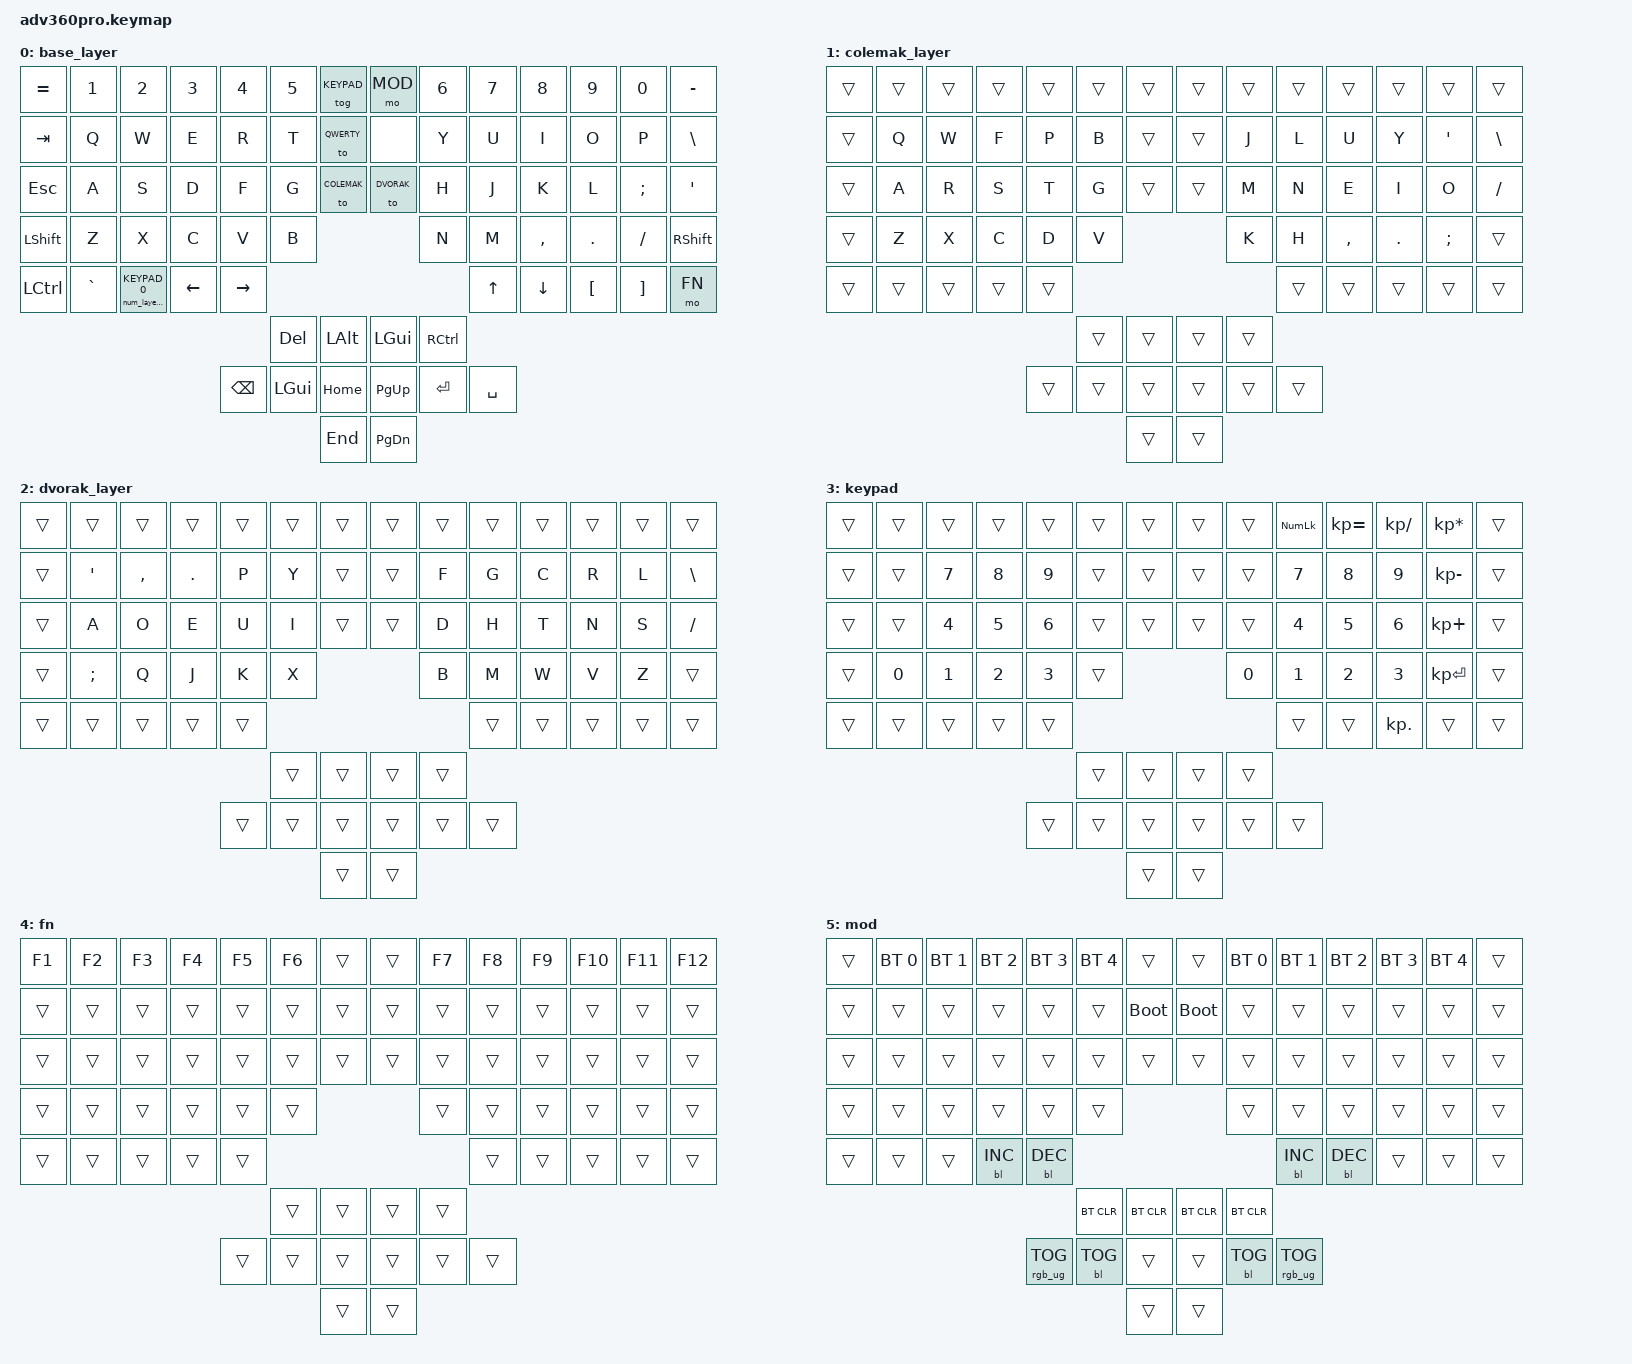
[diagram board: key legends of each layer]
#include <behaviors.dtsi>
#include <dt-bindings/zmk/keys.h>
#include <dt-bindings/zmk/bt.h>
#include <dt-bindings/zmk/outputs.h>
#include <dt-bindings/zmk/rgb.h>
#include <dt-bindings/zmk/backlight.h>
#include "../zmk-nodefree-config/helper.h"
#include "../zmk-nodefree-config/keypos_def/keypos_adv360.h"


#define ___ &trans

#define QWERTY 0
#define COLEMAK 1
#define DVORAK 2
#define KEYPAD 3
#define FN 4
#define MOD 5
#define NAV 6

#include "combos.dtsi"
/* definitions for mouse layer */
#include "mouse.dtsi"

#define KEYS_L LT0 LT1 LT2 LT3 LT4 LM0 LM1 LM2 LM3 LM4 LB0 LB1 LB2 LB3 LB4  // left-hand keys
#define KEYS_R RT0 RT1 RT2 RT3 RT4 RM0 RM1 RM2 RM3 RM4 RB0 RB1 RB2 RB3 RB4  // right-hand keys
#define THUMBS LH2 LH1 LH0 RH0 RH1 RH2                                      // thumb keys

/* left-hand HRMs */
ZMK_BEHAVIOR(hml, hold_tap,
    flavor = "balanced";
    tapping-term-ms = <280>;
    quick-tap-ms = <175>;                // repeat on tap-into-hold
    global-quick-tap-ms = <150>;         // requires PR #1387
    bindings = <&kp>, <&kp>;
    hold-trigger-key-positions = <KEYS_R THUMBS>;
    hold-trigger-on-release;             // requires PR #1423
)

/* right-hand HRMs */
ZMK_BEHAVIOR(hmr, hold_tap,
    flavor = "balanced";
    tapping-term-ms = <280>;
    quick-tap-ms = <175>;                // repeat on tap-into-hold
    global-quick-tap-ms = <150>;         // requires PR #1387
    bindings = <&kp>, <&kp>;
    hold-trigger-key-positions = <KEYS_L THUMBS>;
    hold-trigger-on-release;             // requires PR #1423
)

#define QUICK_TAP_MS 175

ZMK_BEHAVIOR(num_dance, tap_dance,
    tapping-term-ms = <200>;
    bindings = <&num_word>, <&sl KEYPAD>;  // might want to reverse if rarely using more than 1 digit
)
ZMK_BEHAVIOR(num_layer_word, hold_tap,
    flavor = "balanced";
    tapping-term-ms = <200>;
    quick-tap-ms = <QUICK_TAP_MS>;
    bindings = <&mo>, <&num_dance>;
)

ZMK_BEHAVIOR(nav_layer, hold_tap,
    flavor = "balanced";
    tapping-term-ms = <200>;
    quick-tap-ms = <QUICK_TAP_MS>;
    bindings = <&mo>, <&kp> ;
)

ZMK_BEHAVIOR(toggle_qwerty_hmr, macro,
    bindings = <&to QWERTY>, <&num_dance>;
)

#define NUM_WORD &num_layer_word KEYPAD 0
/ {
    /* remove unused keys from layout and move thumb cluster to bottom */
    chosen {
        zmk,matrix_transform = &urobs_transform;
    };
    keymap {
        compatible = "zmk,keymap";

        base_layer {
            bindings = <
                &kp EQUAL &kp N1       &kp N2       &kp N3        &kp N4        &kp N5    &tog KEYPAD    &mo MOD   &kp N6    &kp N7    &kp N8    &kp N9    &kp N0    &kp MINUS
                &kp TAB   &kp Q        &kp W        &kp E         &kp R         &kp T     &to QWERTY    &none   &kp Y     &kp U     &kp I     &kp O     &kp P     &kp BSLH
                &kp ESC   &kp A        &kp S        &kp D         &kp F         &kp G     &to COLEMAK    &to DVORAK &kp H    &kp J     &kp K     &kp L     &kp SEMI  &kp SQT
                &kp LSHFT &kp Z        &kp X        &kp C         &kp V         &kp B                              &kp N     &kp M     &kp COMMA &kp DOT   &kp FSLH  &kp RSHFT
                &kp LCTRL &kp GRAVE    NUM_WORD     &kp LEFT      &kp RIGHT                                                  &kp UP    &kp DOWN  &kp LBKT  &kp RBKT  &mo FN
                                                                              &kp DEL   &kp LALT         &kp LGUI  &kp RCTRL
                                                                    &kp BSPC  &kp LGUI  &kp HOME         &kp PG_UP &kp ENTER &kp SPACE
                                                                                        &kp END          &kp PG_DN
            >;
        };

        colemak_layer {
            bindings = <
                ___       ___           ___         ___             ___       ___       ___            ___       ___            ___      ___            ___         ___           ___
                ___       &kp Q         &kp W       &kp F           &kp P     &kp B     ___            ___       &kp J          &kp L    &kp U          &kp Y       &kp SQT       &kp BSLH
                ___       &kp A         &kp R       &kp S           &kp T     &kp G     ___            ___       &kp M          &kp N    &kp E          &kp I       &kp O         &kp FSLH
                ___       &kp Z         &kp X       &kp C           &kp D     &kp V                              &kp K          &kp H    &kp COMMA      &kp DOT     &kp SEMI      ___
                ___       ___           ___         ___             ___                                                         ___      ___            ___         ___           ___
                                                                  ___       ___            ___       ___
                                                        ___       ___       ___            ___       ___       ___
                                                                            ___            ___
            >;
        };
        dvorak_layer {
            bindings = <
                ___       ___       ___       ___       ___       ___       ___            ___       ___       ___       ___       ___       ___       ___
                ___       &kp SQT     &kp COMMA     &kp DOT     &kp P     &kp Y     ___            ___       &kp F     &kp G     &kp C     &kp R     &kp L   &kp BSLH
                ___       &kp A     &kp O     &kp E     &kp U     &kp I     ___            ___       &kp D     &kp H     &kp T     &kp N     &kp S     &kp FSLH
                ___       &kp SEMI     &kp Q     &kp J     &kp K     &kp X                              &kp B     &kp M     &kp W &kp V   &kp Z  ___
                ___       ___       ___       ___       ___                                                    ___       ___       ___       ___       ___
                                                                  ___       ___            ___       ___
                                                        ___       ___       ___            ___       ___       ___
                                                                            ___            ___
            >;
        };

        keypad {
            bindings = <
                ___       ___       ___       ___       ___       ___       ___            ___       ___       &kp KP_NUM &kp KP_EQUAL &kp KP_DIVIDE &kp KP_MULTIPLY ___
                ___       ___       &kp N7    &kp N8    &kp N9    ___       ___            ___       ___       &kp N7    &kp N8    &kp N9  &kp KP_MINUS    ___
                ___       ___       &kp N4    &kp N5    &kp N6    ___       ___            ___       ___       &kp N4    &kp N5    &kp N6  &kp KP_PLUS     ___
                ___       &kp N0    &kp N1    &kp N2    &kp N3       ___                             &kp N0    &kp N1    &kp N2    &kp N3  &kp KP_ENTER    ___
                ___       ___       ___       ___       ___                                                    ___       ___       &kp KP_DOT    ___       ___
                                                                  ___       ___            ___       ___
                                                        ___       ___       ___            ___       ___       ___
                                                                            ___            ___
            >;
        };

        fn {
            bindings = <
                &kp F1    &kp F2    &kp F3    &kp F4    &kp F5    &kp F6    ___            ___       &kp F7    &kp F8    &kp F9    &kp F10   &kp F11   &kp F12
                ___       ___       ___       ___       ___       ___       ___            ___       ___       ___       ___       ___       ___       ___
                ___       ___       ___       ___       ___       ___       ___            ___       ___       ___       ___       ___       ___       ___
                ___       ___       ___       ___       ___       ___                                ___       ___       ___       ___       ___       ___
                ___       ___       ___       ___       ___                                                    ___       ___       ___       ___       ___
                                                                  ___       ___            ___       ___
                                                        ___       ___       ___            ___       ___       ___
                                                                            ___            ___
            >;
        };

        mod {
            bindings = <
                ___       &bt BT_SEL 0 &bt BT_SEL 1 &bt BT_SEL 2 &bt BT_SEL 3 &bt BT_SEL 4 ___              ___         &bt BT_SEL 0 &bt BT_SEL 1     &bt BT_SEL 2 &bt BT_SEL 3 &bt BT_SEL 4 ___
                ___       ___          ___          ___          ___          ___          &bootloader      &bootloader ___          ___              ___          ___          ___          ___
                ___       ___          ___          ___          ___          ___          ___              ___         ___          ___              ___          ___          ___          ___
                ___       ___          ___          ___          ___          ___                                       ___          ___              ___          ___          ___          ___
                ___       ___          ___          &bl BL_INC   &bl BL_DEC                                                          &bl BL_INC       &bl BL_DEC   ___          ___          ___
                                                                              &bt BT_CLR   &bt BT_CLR       &bt BT_CLR  &bt BT_CLR
                                                                 &rgb_ug RGB_TOG &bl BL_TOG   ___              ___         &bl BL_TOG   &rgb_ug RGB_TOG
                                                                                           ___              ___
            >;
        };


    };

};

